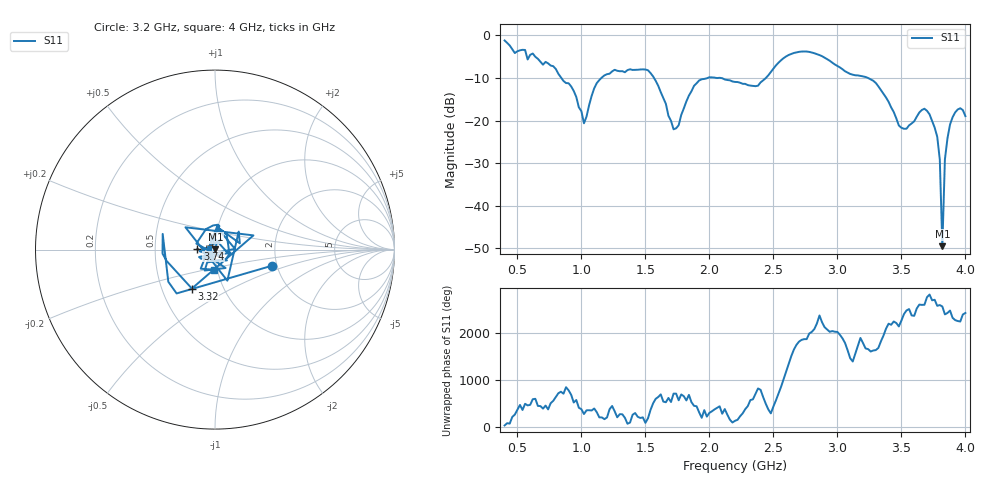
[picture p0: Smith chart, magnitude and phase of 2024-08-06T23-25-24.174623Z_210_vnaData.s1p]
!Created with skrf (http://scikit-rf.org).
# Hz S RI R 50.0
!freq ReS11 ImS11
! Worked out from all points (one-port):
!   181 points, 400 MHz to 4 GHz, reference 50 ohm
!   lowest |S11| = -49.5 dB at 3.82 GHz (marker M1), VSWR 1.01, Z = 50.2 + j0.235 ohm
!   |S11| at or under -10 dB: 1.567 GHz to 1.986 GHz (418.6 MHz wide, 23.6 % of centre); 2.089 GHz to 2.441 GHz (352.6 MHz wide, 15.6 % of centre); 3.239 GHz to end of sweep (the widest 3 of 5)
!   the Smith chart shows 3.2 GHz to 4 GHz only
!   S11 on the Smith chart (normalised r, x): 3.2 GHz: 1.88, -0.38; 3.32 GHz: 0.71, -0.33; 3.74 GHz: 0.82, +0.01; 4 GHz: 0.96, -0.22
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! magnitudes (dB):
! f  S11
! 400 MHz  -1.2
! 860 MHz  -10.7
! 940 MHz  -13.0
! 1.02 GHz  -20.6
! 1.12 GHz  -11.2
! 1.3 GHz  -8.4
! 1.52 GHz  -8.2
! 1.6 GHz  -11.8
! 1.72 GHz  -22.1
! 1.76 GHz  -21.1
! 1.92 GHz  -10.6
! 2.2 GHz  -10.9
! 2.38 GHz  -11.8
! 2.66 GHz  -4.1
! 3.1 GHz  -9.1
! 3.2 GHz  -9.6
! 3.32 GHz  -12.0
! 3.48 GHz  -21.2
! 3.56 GHz  -21.1
! 3.68 GHz  -17.2
! 3.74 GHz  -20.1
! 3.78 GHz  -23.8
! 3.8 GHz  -29.2
! 3.82 GHz  -49.5
! 3.84 GHz  -29.1
! 3.86 GHz  -24.2
! 3.92 GHz  -18.1
! 4 GHz  -19.0
